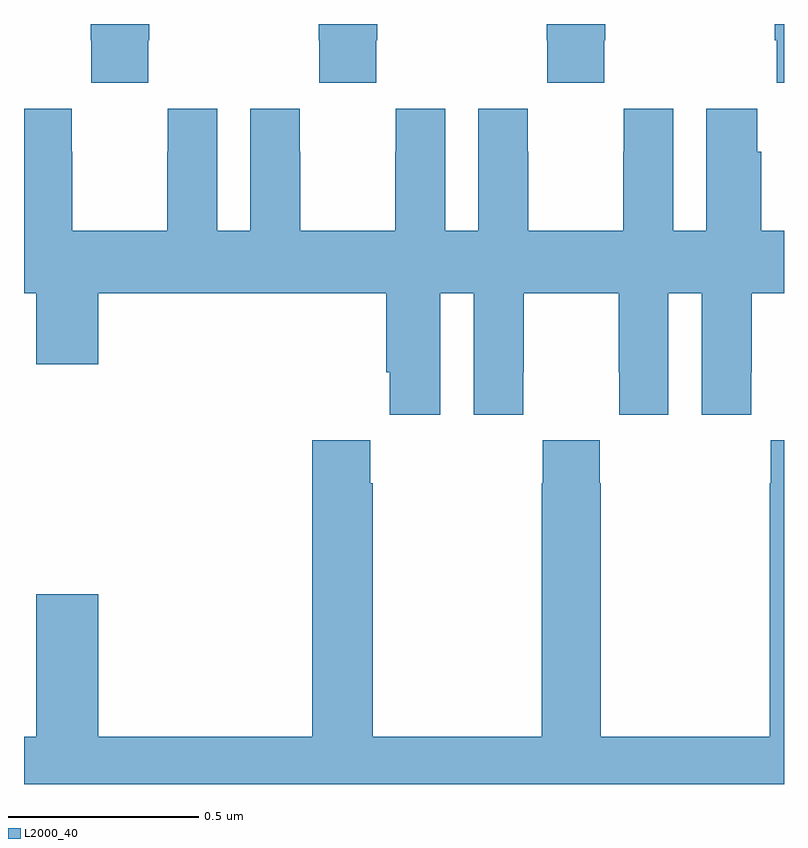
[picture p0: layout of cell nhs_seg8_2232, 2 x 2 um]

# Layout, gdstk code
import gdstk
lib = gdstk.Library(unit=1e-6, precision=1e-09)
def P(c, l, *ps):  # polygons
    for p in ps: c.add(gdstk.Polygon(p, *l))
L2000_40 = (2000, 40)

nhs_seg8_2232 = lib.new_cell('nhs_seg8_2232')
P(nhs_seg8_2232, L2000_40, [(141.927,1091.857),(141.93,1091.857),(141.93,1091.9),(141.775,1091.9),(141.775,1091.857),(141.777,1091.857),(141.777,1091.745),(141.927,1091.745)],
  [(142.527,1091.857),(142.53,1091.857),(142.53,1091.9),(142.375,1091.9),(142.375,1091.857),(142.377,1091.857),(142.377,1091.745),(142.527,1091.745)],
  [(143,1091.9),(142.975,1091.9),(142.975,1091.857),(142.981,1091.857),(142.981,1091.745),(143,1091.745)],
  [(141.327,1091.857),(141.33,1091.857),(141.33,1091.9),(141.175,1091.9),(141.175,1091.857),(141.177,1091.857),(141.177,1091.745),(141.327,1091.745)],
  [(142.096,1091.192),(142.184,1091.192),(142.184,1090.872),(142.314,1090.872),(142.314,1090.984),(142.315,1090.984),(142.315,1091.192),(142.565,1091.192),(142.565,1090.984),(142.566,1090.984),(142.566,1090.872),(142.696,1090.872),(142.696,1091.192),(142.784,1091.192),(142.784,1090.872),(142.914,1090.872),(142.914,1090.984),(142.915,1090.984),(142.915,1091.192),(143,1091.192),(143,1091.356),(142.94,1091.356),(142.94,1091.564),(142.93,1091.564),(142.93,1091.677),(142.796,1091.677),(142.796,1091.356),(142.708,1091.356),(142.708,1091.677),(142.578,1091.677),(142.578,1091.564),(142.577,1091.564),(142.577,1091.356),(142.327,1091.356),(142.327,1091.564),(142.326,1091.564),(142.326,1091.677),(142.196,1091.677),(142.196,1091.356),(142.108,1091.356),(142.108,1091.677),(141.978,1091.677),(141.978,1091.564),(141.977,1091.564),(141.977,1091.356),(141.727,1091.356),(141.727,1091.564),(141.726,1091.564),(141.726,1091.677),(141.596,1091.677),(141.596,1091.356),(141.508,1091.356),(141.508,1091.677),(141.378,1091.677),(141.378,1091.564),(141.377,1091.564),(141.377,1091.356),(141.127,1091.356),(141.127,1091.564),(141.126,1091.564),(141.126,1091.677),(141,1091.677),(141,1091.192),(141.032,1091.192),(141.032,1091.004),(141.196,1091.004),(141.196,1091.192),(141.953,1091.192),(141.953,1090.984),(141.962,1090.984),(141.962,1090.872),(142.096,1090.872)],
  [(143,1090.804),(142.965,1090.804),(142.965,1090.691),(142.963,1090.691),(142.963,1090.024),(142.518,1090.024),(142.518,1090.691),(142.515,1090.691),(142.515,1090.804),(142.365,1090.804),(142.365,1090.691),(142.363,1090.691),(142.363,1090.024),(141.918,1090.024),(141.918,1090.691),(141.911,1090.691),(141.911,1090.804),(141.758,1090.804),(141.758,1090.024),(141.196,1090.024),(141.196,1090.399),(141.032,1090.399),(141.032,1090.024),(141,1090.024),(141,1089.9),(143,1089.9)])

lib.write_gds('nhs_seg8_2232.gds')
